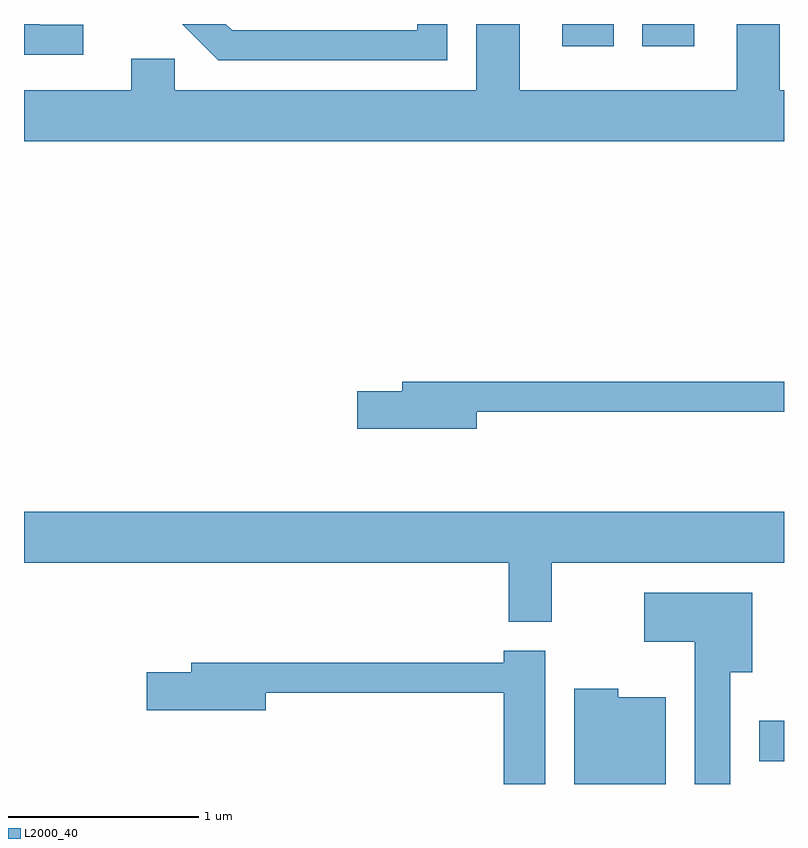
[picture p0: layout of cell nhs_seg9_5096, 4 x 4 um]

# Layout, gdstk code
import gdstk
lib = gdstk.Library(unit=1e-6, precision=1e-09)
def R(c, l, rs):  # rectangles x0, y0, x1, y1
    for r in rs: c.add(gdstk.rectangle(r[:2], r[2:], *l))
def P(c, l, *ps):  # polygons
    for p in ps: c.add(gdstk.Polygon(p, *l))
L2000_40 = (2000, 40)

nhs_seg9_5096 = lib.new_cell('nhs_seg9_5096')
R(nhs_seg9_5096, L2000_40, [(339.481,1988.551,339.611,1988.764), (338.443,1992.316,338.714,1992.432), (338.866,1992.316,339.138,1992.432)])
P(nhs_seg9_5096, L2000_40, [(339.611,1992.084),(339.589,1992.084),(339.589,1992.432),(339.361,1992.432),(339.361,1992.084),(338.219,1992.084),(338.219,1992.432),(337.991,1992.432),(337.991,1992.084),(336.404,1992.084),(336.404,1992.249),(336.176,1992.249),(336.176,1992.084),(335.611,1992.084),(335.611,1991.816),(339.611,1991.816)],
  [(337.839,1992.432),(337.681,1992.432),(337.681,1992.399),(336.707,1992.399),(336.674,1992.432),(336.443,1992.432),(336.634,1992.241),(337.839,1992.241)],
  [(335.923,1992.429),(335.694,1992.429),(335.694,1992.432),(335.611,1992.432),(335.611,1992.271),(335.923,1992.271)],
  [(337.994,1990.391),(339.611,1990.391),(339.611,1990.549),(337.601,1990.549),(337.601,1990.499),(337.366,1990.499),(337.366,1990.301),(337.994,1990.301)],
  [(335.611,1989.596),(338.161,1989.596),(338.161,1989.286),(338.389,1989.286),(338.389,1989.596),(339.611,1989.596),(339.611,1989.864),(335.611,1989.864)],
  [(339.329,1989.021),(339.444,1989.021),(339.444,1989.439),(338.876,1989.439),(338.876,1989.181),(339.141,1989.181),(339.141,1988.432),(339.329,1988.432)],
  [(338.354,1989.134),(338.136,1989.134),(338.136,1989.069),(336.491,1989.069),(336.491,1989.019),(336.256,1989.019),(336.256,1988.821),(336.884,1988.821),(336.884,1988.911),(338.136,1988.911),(338.136,1988.432),(338.354,1988.432)],
  [(338.989,1988.889),(338.739,1988.889),(338.739,1988.934),(338.506,1988.934),(338.506,1988.432),(338.989,1988.432)])

lib.write_gds('nhs_seg9_5096.gds')
